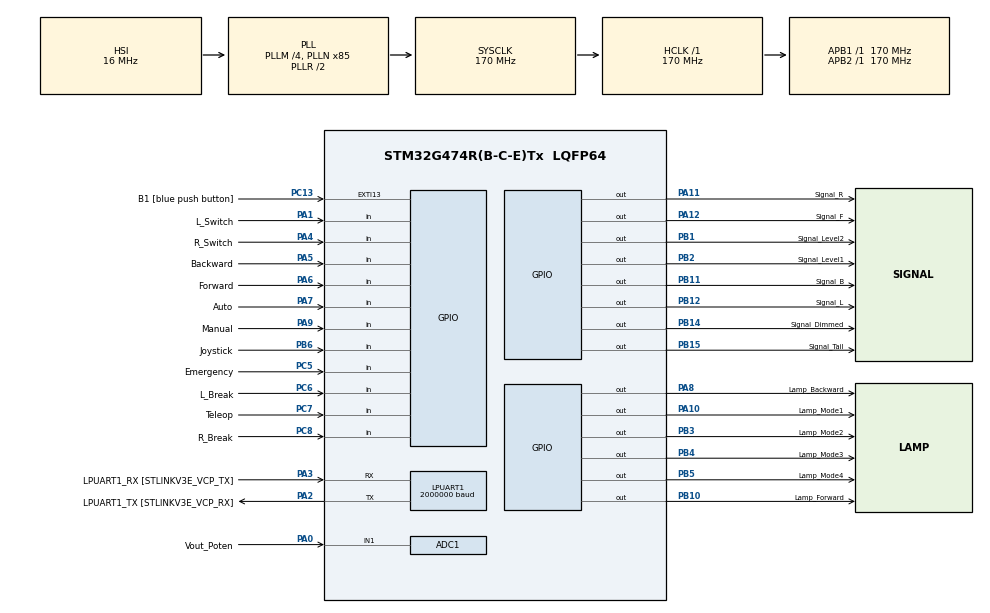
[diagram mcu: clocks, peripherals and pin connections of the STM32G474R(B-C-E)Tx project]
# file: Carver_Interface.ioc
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ADC1.Channel-0\#ChannelRegularConversion=ADC_CHANNEL_1
ADC1.ContinuousConvMode=DISABLE
ADC1.DMAContinuousRequests=ENABLE
ADC1.ExternalTrigConv=ADC_EXTERNALTRIG_T2_TRGO
ADC1.NbrOfConversion=1
ADC1.NbrOfConversionFlag=1
ADC1.OffsetNumber-0\#ChannelRegularConversion=ADC_OFFSET_NONE
ADC1.Rank-0\#ChannelRegularConversion=1
ADC1.SamplingTime-0\#ChannelRegularConversion=ADC_SAMPLETIME_640CYCLES_5
ADC1.master=1
Dma.ADC1.2.Direction=DMA_PERIPH_TO_MEMORY
Dma.ADC1.2.EventEnable=DISABLE
Dma.ADC1.2.Instance=DMA1_Channel3
Dma.ADC1.2.MemDataAlignment=DMA_MDATAALIGN_HALFWORD
Dma.ADC1.2.MemInc=DMA_MINC_ENABLE
Dma.ADC1.2.Mode=DMA_CIRCULAR
Dma.ADC1.2.PeriphDataAlignment=DMA_PDATAALIGN_HALFWORD
Dma.ADC1.2.PeriphInc=DMA_PINC_DISABLE
Dma.ADC1.2.Polarity=HAL_DMAMUX_REQ_GEN_RISING
Dma.ADC1.2.Priority=DMA_PRIORITY_LOW
Dma.ADC1.2.RequestNumber=1
Dma.ADC1.2.SignalID=NONE
Dma.ADC1.2.SyncEnable=DISABLE
Dma.ADC1.2.SyncPolarity=HAL_DMAMUX_SYNC_NO_EVENT
Dma.ADC1.2.SyncRequestNumber=1
Dma.ADC1.2.SyncSignalID=NONE
Dma.LPUART1_RX.1.Direction=DMA_PERIPH_TO_MEMORY
Dma.LPUART1_RX.1.EventEnable=DISABLE
Dma.LPUART1_RX.1.Instance=DMA1_Channel2
Dma.LPUART1_RX.1.MemDataAlignment=DMA_MDATAALIGN_BYTE
Dma.LPUART1_RX.1.MemInc=DMA_MINC_ENABLE
Dma.LPUART1_RX.1.Mode=DMA_CIRCULAR
Dma.LPUART1_RX.1.PeriphDataAlignment=DMA_PDATAALIGN_BYTE
Dma.LPUART1_RX.1.PeriphInc=DMA_PINC_DISABLE
Dma.LPUART1_RX.1.Polarity=HAL_DMAMUX_REQ_GEN_RISING
Dma.LPUART1_RX.1.Priority=DMA_PRIORITY_VERY_HIGH
Dma.LPUART1_RX.1.RequestNumber=1
Dma.LPUART1_RX.1.SignalID=NONE
Dma.LPUART1_RX.1.SyncEnable=DISABLE
Dma.LPUART1_RX.1.SyncPolarity=HAL_DMAMUX_SYNC_NO_EVENT
Dma.LPUART1_RX.1.SyncRequestNumber=1
Dma.LPUART1_RX.1.SyncSignalID=NONE
Dma.LPUART1_TX.0.Direction=DMA_MEMORY_TO_PERIPH
Dma.LPUART1_TX.0.EventEnable=DISABLE
Dma.LPUART1_TX.0.Instance=DMA1_Channel1
Dma.LPUART1_TX.0.MemDataAlignment=DMA_MDATAALIGN_BYTE
Dma.LPUART1_TX.0.MemInc=DMA_MINC_ENABLE
Dma.LPUART1_TX.0.Mode=DMA_NORMAL
Dma.LPUART1_TX.0.PeriphDataAlignment=DMA_PDATAALIGN_BYTE
Dma.LPUART1_TX.0.PeriphInc=DMA_PINC_DISABLE
Dma.LPUART1_TX.0.Polarity=HAL_DMAMUX_REQ_GEN_RISING
Dma.LPUART1_TX.0.Priority=DMA_PRIORITY_VERY_HIGH
Dma.LPUART1_TX.0.RequestNumber=1
Dma.LPUART1_TX.0.SignalID=NONE
Dma.LPUART1_TX.0.SyncEnable=DISABLE
Dma.LPUART1_TX.0.SyncPolarity=HAL_DMAMUX_SYNC_NO_EVENT
Dma.LPUART1_TX.0.SyncRequestNumber=1
Dma.LPUART1_TX.0.SyncSignalID=NONE
Dma.Request0=LPUART1_TX
Dma.Request1=LPUART1_RX
Dma.Request2=ADC1
FREERTOS.Tasks01=defaultTask,40,5000,StartDefaultTask,Default,NULL,Static,defaultTaskBuffer,defaultTaskControlBlock
IWDG.Reload=2499
LPUART1.BaudRate=2000000
Mcu.Family=STM32G4
Mcu.Name=STM32G474R(B-C-E)Tx
Mcu.Package=LQFP64
NVIC.ADC1_2_IRQn=true\:5\:0\:false\:false\:true\:true\:true\:true\:true
NVIC.DMA1_Channel1_IRQn=true\:5\:0\:false\:false\:true\:true\:false\:true\:true
NVIC.DMA1_Channel2_IRQn=true\:5\:0\:false\:false\:true\:true\:false\:true\:true
NVIC.DMA1_Channel3_IRQn=true\:5\:0\:false\:false\:true\:true\:false\:true\:true
NVIC.EXTI15_10_IRQn=true\:5\:0\:false\:false\:true\:true\:true\:true\:true
NVIC.LPUART1_IRQn=true\:5\:0\:false\:false\:true\:true\:true\:true\:true
NVIC.PriorityGroup=NVIC_PRIORITYGROUP_4
NVIC.TIM1_UP_TIM16_IRQn=true\:15\:0\:false\:false\:true\:false\:false\:true\:true
NVIC.TIM2_IRQn=true\:5\:0\:false\:false\:true\:true\:true\:true\:true
NVIC.TimeBase=TIM1_UP_TIM16_IRQn
NVIC.TimeBaseIP=TIM1
PA0.GPIO_Label=Vout_Poten
PA0.Mode=IN1-Single-Ended
PA0.Signal=ADC1_IN1
PA1.GPIO_Label=L_Switch
PA1.GPIO_PuPd=GPIO_PULLUP
PA1.Signal=GPIO_Input
PA10.GPIO_Label=Lamp_Mode1
PA10.GPIO_PuPd=GPIO_PULLDOWN
PA10.PinState=GPIO_PIN_SET
PA10.Signal=GPIO_Output
PA11.GPIO_Label=Signal_R
PA11.GPIO_ModeDefaultOutputPP=GPIO_MODE_OUTPUT_PP
PA11.GPIO_PuPd=GPIO_PULLDOWN
PA11.PinState=GPIO_PIN_SET
PA11.Signal=GPIO_Output
PA12.GPIO_Label=Signal_F
PA12.GPIO_PuPd=GPIO_PULLDOWN
PA12.PinState=GPIO_PIN_SET
PA12.Signal=GPIO_Output
PA13.GPIO_Label=T_SWDIO
PA13.Signal=SYS_JTMS-SWDIO
PA14.GPIO_Label=T_SWCLK
PA14.Signal=SYS_JTCK-SWCLK
PA2.GPIO_Label=LPUART1_TX [STLINKV3E_VCP_RX]
PA2.Mode=Asynchronous
PA2.Signal=LPUART1_TX
PA3.GPIO_Label=LPUART1_RX [STLINKV3E_VCP_TX]
PA3.Mode=Asynchronous
PA3.Signal=LPUART1_RX
PA4.GPIO_Label=R_Switch
PA4.GPIO_PuPd=GPIO_PULLUP
PA4.Signal=GPIO_Input
PA5.GPIO_Label=Backward
PA5.GPIO_PuPd=GPIO_PULLDOWN
PA5.Signal=GPIO_Input
PA6.GPIO_Label=Forward
PA6.GPIO_PuPd=GPIO_PULLDOWN
PA6.Signal=GPIO_Input
PA7.GPIO_Label=Auto
PA7.GPIO_PuPd=GPIO_PULLDOWN
PA7.Signal=GPIO_Input
PA8.GPIO_Label=Lamp_Backward
PA8.GPIO_PuPd=GPIO_PULLDOWN
PA8.Signal=GPIO_Output
PA9.GPIO_Label=Manual
PA9.GPIO_PuPd=GPIO_PULLDOWN
PA9.Signal=GPIO_Input
PB1.GPIO_Label=Signal_Level2
PB1.GPIO_ModeDefaultOutputPP=GPIO_MODE_OUTPUT_PP
PB1.GPIO_PuPd=GPIO_PULLDOWN
PB1.PinState=GPIO_PIN_SET
PB1.Signal=GPIO_Output
PB10.GPIO_Label=Lamp_Forward
PB10.GPIO_PuPd=GPIO_PULLDOWN
PB10.Signal=GPIO_Output
PB11.GPIO_Label=Signal_B
PB11.GPIO_PuPd=GPIO_PULLDOWN
PB11.PinState=GPIO_PIN_SET
PB11.Signal=GPIO_Output
PB12.GPIO_Label=Signal_L
PB12.GPIO_PuPd=GPIO_PULLDOWN
PB12.PinState=GPIO_PIN_SET
PB12.Signal=GPIO_Output
PB14.GPIO_Label=Signal_Dimmed
PB14.GPIO_PuPd=GPIO_PULLDOWN
PB14.PinState=GPIO_PIN_SET
PB14.Signal=GPIO_Output
PB15.GPIO_Label=Signal_Tail
PB15.GPIO_PuPd=GPIO_PULLDOWN
PB15.PinState=GPIO_PIN_SET
PB15.Signal=GPIO_Output
PB2.GPIO_Label=Signal_Level1
PB2.GPIO_PuPd=GPIO_PULLDOWN
PB2.PinState=GPIO_PIN_SET
PB2.Signal=GPIO_Output
PB3.GPIO_Label=Lamp_Mode2
PB3.GPIO_ModeDefaultOutputPP=GPIO_MODE_OUTPUT_PP
PB3.GPIO_PuPd=GPIO_PULLDOWN
PB3.PinState=GPIO_PIN_SET
PB3.Signal=GPIO_Output
PB4.GPIO_Label=Lamp_Mode3
PB4.GPIO_PuPd=GPIO_PULLDOWN
PB4.Signal=GPIO_Output
PB5.GPIO_Label=Lamp_Mode4
PB5.GPIO_PuPd=GPIO_PULLDOWN
PB5.PinState=GPIO_PIN_SET
PB5.Signal=GPIO_Output
PB6.GPIO_Label=Joystick
PB6.GPIO_PuPd=GPIO_PULLDOWN
PB6.Signal=GPIO_Input
PC13.GPIO_Label=B1 [blue push button]
PC13.Signal=GPXTI13
PC14-OSC32_IN.GPIO_Label=RCC_OSC32_IN
PC14-OSC32_IN.Mode=LSE-External-Oscillator
PC14-OSC32_IN.Signal=RCC_OSC32_IN
PC15-OSC32_OUT.Mode=LSE-External-Oscillator
PC15-OSC32_OUT.Signal=RCC_OSC32_OUT
PC5.GPIO_Label=Emergency
PC5.Signal=GPIO_Input
PC6.GPIO_Label=L_Break
PC6.GPIO_PuPd=GPIO_PULLUP
PC6.Signal=GPIO_Input
PC7.GPIO_Label=Teleop
PC7.GPIO_PuPd=GPIO_PULLDOWN
PC7.Signal=GPIO_Input
PC8.GPIO_Label=R_Break
PC8.GPIO_PuPd=GPIO_PULLUP
PC8.Signal=GPIO_Input
PF0-OSC_IN.Mode=HSE-External-Oscillator
PF0-OSC_IN.Signal=RCC_OSC_IN
PF1-OSC_OUT.GPIO_Label=RCC_OSC_OUT
PF1-OSC_OUT.Mode=HSE-External-Oscillator
PF1-OSC_OUT.Signal=RCC_OSC_OUT
ProjectManager.HeapSize=0x200
ProjectManager.StackSize=0x400
ProjectManager.TargetToolchain=STM32CubeIDE
RCC.ADC12Freq_Value=170000000
RCC.ADC345Freq_Value=170000000
RCC.AHBFreq_Value=170000000
RCC.APB1Freq_Value=170000000
RCC.APB1TimFreq_Value=170000000
RCC.APB2Freq_Value=170000000
RCC.APB2TimFreq_Value=170000000
RCC.CortexFreq_Value=170000000
RCC.EXTERNAL_CLOCK_VALUE=12288000
RCC.HCLKFreq_Value=170000000
RCC.HSE_VALUE=24000000
RCC.HSI48_VALUE=48000000
RCC.HSI_VALUE=16000000
RCC.PLLM=RCC_PLLM_DIV4
RCC.PLLN=85
RCC.RTCClockSelection=RCC_RTCCLKSOURCE_LSE
RCC.SYSCLKFreq_VALUE=170000000
RCC.SYSCLKSource=RCC_SYSCLKSOURCE_PLLCLK
RCC.USBFreq_Value=170000000
RCC.VCOOutputFreq_Value=340000000
TIM2.PeriodNoDither=999
TIM2.Prescaler=169
TIM2.TIM_MasterOutputTrigger=TIM_TRGO_UPDATE
VP_FREERTOS_VS_CMSIS_V2.Mode=CMSIS_V2
VP_IWDG_VS_IWDG.Mode=IWDG_Activate
VP_SYS_VS_DBSignals.Mode=DisableDeadBatterySignals
VP_SYS_VS_tim1.Mode=TIM1
VP_TIM2_VS_ClockSourceINT.Mode=Internal
board=NUCLEO-G474RE

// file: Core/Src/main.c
/* USER CODE BEGIN Header */
/**
  ******************************************************************************
  * @file           : main.c
  * @brief          : Main program body
  ******************************************************************************
  * @attention
  *
  * Copyright (c) 2024 STMicroelectronics.
  * All rights reserved.
  *
  * This software is licensed under terms that can be found in the LICENSE file
  * in the root directory of this software component.
  * If no LICENSE file comes with this software, it is provided AS-IS.
  *
  ******************************************************************************
  */
/* USER CODE END Header */
#include "main.h"
#include "cmsis_os.h"
#include "adc.h"
#include "dma.h"
#include "iwdg.h"
#include "usart.h"
#include "tim.h"
#include "gpio.h"

/* USER CODE BEGIN PV */
//uint8_t pinState = 0;
//uint8_t pinState1 = 0;
//uint8_t pinState2 = 0;
//uint8_t pinState3 = 0;
//uint8_t pinState4 = 0;
uint8_t test = 0;
/* USER CODE END PV */

void SystemClock_Config(void);
void MX_FREERTOS_Init(void);

int main(void)
{

  /* MCU Configuration--------------------------------------------------------*/

  /* Reset of all peripherals, Initializes the Flash interface and the Systick. */
  HAL_Init();

  /* Configure the system clock */
  SystemClock_Config();

  /* Initialize all configured peripherals */
  MX_GPIO_Init();
  MX_DMA_Init();
  MX_LPUART1_UART_Init();
  MX_ADC1_Init();
  MX_IWDG_Init();
  MX_TIM2_Init();
  /* USER CODE BEGIN 2 */

  HAL_TIM_Base_Start_IT(&htim2);
  /* USER CODE END 2 */

  /* Init scheduler */
  osKernelInitialize();

  /* Call init function for freertos objects (in cmsis_os2.c) */
  MX_FREERTOS_Init();

  /* Start scheduler */
  osKernelStart();

  /* We should never get here as control is now taken by the scheduler */

  /* Infinite loop */
  while (1)
  {

  }
}

void SystemClock_Config(void)
{
  RCC_OscInitTypeDef RCC_OscInitStruct = {0};
  RCC_ClkInitTypeDef RCC_ClkInitStruct = {0};

  /** Configure the main internal regulator output voltage
  */
  HAL_PWREx_ControlVoltageScaling(PWR_REGULATOR_VOLTAGE_SCALE1_BOOST);

  /** Initializes the RCC Oscillators according to the specified parameters
  * in the RCC_OscInitTypeDef structure.
  */
  RCC_OscInitStruct.OscillatorType = RCC_OSCILLATORTYPE_HSI|RCC_OSCILLATORTYPE_LSI;
  RCC_OscInitStruct.HSIState = RCC_HSI_ON;
  RCC_OscInitStruct.HSICalibrationValue = RCC_HSICALIBRATION_DEFAULT;
  RCC_OscInitStruct.LSIState = RCC_LSI_ON;
  RCC_OscInitStruct.PLL.PLLState = RCC_PLL_ON;
  RCC_OscInitStruct.PLL.PLLSource = RCC_PLLSOURCE_HSI;
  RCC_OscInitStruct.PLL.PLLM = RCC_PLLM_DIV4;
  RCC_OscInitStruct.PLL.PLLN = 85;
  RCC_OscInitStruct.PLL.PLLP = RCC_PLLP_DIV2;
  RCC_OscInitStruct.PLL.PLLQ = RCC_PLLQ_DIV2;
  RCC_OscInitStruct.PLL.PLLR = RCC_PLLR_DIV2;
  if (HAL_RCC_OscConfig(&RCC_OscInitStruct) != HAL_OK)
  {
    Error_Handler();
  }

  /** Initializes the CPU, AHB and APB buses clocks
  */
  RCC_ClkInitStruct.ClockType = RCC_CLOCKTYPE_HCLK|RCC_CLOCKTYPE_SYSCLK
                              |RCC_CLOCKTYPE_PCLK1|RCC_CLOCKTYPE_PCLK2;
  RCC_ClkInitStruct.SYSCLKSource = RCC_SYSCLKSOURCE_PLLCLK;
  RCC_ClkInitStruct.AHBCLKDivider = RCC_SYSCLK_DIV1;
  RCC_ClkInitStruct.APB1CLKDivider = RCC_HCLK_DIV1;
  RCC_ClkInitStruct.APB2CLKDivider = RCC_HCLK_DIV1;

  if (HAL_RCC_ClockConfig(&RCC_ClkInitStruct, FLASH_LATENCY_4) != HAL_OK)
  {
    Error_Handler();
  }
}

/* USER CODE BEGIN 4 */
void HAL_TIM_PeriodElapsedCallback(TIM_HandleTypeDef *htim){
	if(htim == &htim2){
		test +=1;
//		pinState  = HAL_GPIO_ReadPin(Mode1_GPIO_Port, Mode1_Pin);
//		pinState1 = HAL_GPIO_ReadPin(Mode2_GPIO_Port, Mode2_Pin);
//		pinState2 = HAL_GPIO_ReadPin(Mode3_GPIO_Port, Mode3_Pin);
//		pinState3 = HAL_GPIO_ReadPin(Mode4_GPIO_Port, Mode4_Pin);
	}
}
/* USER CODE END 4 */

void Error_Handler(void)
{
  __disable_irq();
  while (1)
  {
  }
}

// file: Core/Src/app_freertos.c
/* USER CODE BEGIN Header */
/**
  ******************************************************************************
  * File Name          : app_freertos.c
  * Description        : Code for freertos applications
  ******************************************************************************
  * @attention
  *
  * Copyright (c) 2024 STMicroelectronics.
  * All rights reserved.
  *
  * This software is licensed under terms that can be found in the LICENSE file
  * in the root directory of this software component.
  * If no LICENSE file comes with this software, it is provided AS-IS.
  *
  ******************************************************************************
  */
/* USER CODE END Header */

#include "FreeRTOS.h"
#include "task.h"
#include "main.h"
#include "cmsis_os.h"

/* USER CODE BEGIN Includes */

#include "adc.h"
#include "dma.h"
#include "iwdg.h"
#include "usart.h"
#include "gpio.h"

#include <rcl/rcl.h>
#include <rcl/error_handling.h>
#include <rclc/rclc.h>
#include <rclc/executor.h>
#include <uxr/client/transport.h>
#include <rmw_microxrcedds_c/config.h>
#include <rmw_microros/rmw_microros.h>

#include <micro_ros_utilities/string_utilities.h>
#include <std_msgs/msg/float32.h>
#include <std_msgs/msg/float32_multi_array.h>
#include <std_msgs/msg/float64_multi_array.h>

#include <std_msgs/msg/u_int16.h>
#include <std_msgs/msg/int8.h>
#include <std_msgs/msg/bool.h>

#include <geometry_msgs/msg/twist.h>
/* USER CODE END Includes */

typedef StaticTask_t osStaticThreadDef_t;
/* USER CODE BEGIN PTD */
typedef enum{
	MANUAL,
	TELEOP,
	AUTO,
	JOYSTICK,
	DEBOUNCE
}MODE;

typedef enum{
	FORWARD,
	BACKWARD,
}DIRECTION;
/* USER CODE END PTD */

/* USER CODE BEGIN PD */
#define BUFFER_SIZE 40
#define RCSOFTCHECK(fn) if (fn != RCL_RET_OK) {};
/* USER CODE END PD */

/* USER CODE BEGIN Variables */
rcl_node_t node;

rcl_publisher_t xrl8_publisher;
std_msgs__msg__UInt16 XRL8_msg;

rcl_publisher_t emer_publisher;
std_msgs__msg__Bool emer_msg;

rcl_publisher_t direction_publisher;
std_msgs__msg__Int8 dir_msg;

rcl_subscription_t mode_subscriber;
std_msgs__msg__Int8 mode_msg;

rcl_subscription_t twist_subscriber;
geometry_msgs__msg__Twist twist_msg;

uint8_t sync_counter = 0;

uint8_t mode_sub_msg = 9;
float linear_x = 0.0, angular_z = 0.0;

uint8_t Manual_mode = 0; // Manual
uint8_t Teleop_mode = 0; // Teleop
uint8_t Auto_mode = 0; // Auto
uint8_t Joystick_mode = 0; // Joystick
uint8_t forward = 0;
uint8_t backward = 0;
uint8_t l_switch = 0;
uint8_t r_switch = 0;
uint8_t l_break = 0;
uint8_t r_break = 0;

uint8_t cmd_mode1 = 0;
uint8_t cmd_mode2 = 0;
uint8_t cmd_mode3 = 0;
uint8_t cmd_mode4 = 0;
uint8_t cmd_mode1_tower = 0;
uint8_t cmd_mode2_tower = 0;
uint8_t cmd_mode3_tower = 0;
uint8_t cmd_mode4_tower = 0;

uint8_t cmd_forward = 0;
uint8_t cmd_backward = 0;
uint8_t cmd_front_light = 0;
uint8_t cmd_brake_light = 0;
uint8_t cmd_left_signal_light = 0;
uint8_t cmd_right_signal_light = 0;

MODE mode = MANUAL;
DIRECTION manual_direction = FORWARD;
float accelerator = 0.0;
GPIO_PinState emer = 0;

uint16_t adc_buffer[BUFFER_SIZE];
/* USER CODE END Variables */
/* Definitions for defaultTask */
osThreadId_t defaultTaskHandle;
uint32_t defaultTaskBuffer[ 5000 ];
osStaticThreadDef_t defaultTaskControlBlock;
const osThreadAttr_t defaultTask_attributes = {
  .name = "defaultTask",
  .stack_mem = &defaultTaskBuffer[0],
  .stack_size = sizeof(defaultTaskBuffer),
  .cb_mem = &defaultTaskControlBlock,
  .cb_size = sizeof(defaultTaskControlBlock),
  .priority = (osPriority_t) osPriorityHigh,
};

/* USER CODE BEGIN FunctionPrototypes */
bool cubemx_transport_open(struct uxrCustomTransport * transport);
bool cubemx_transport_close(struct uxrCustomTransport * transport);
size_t cubemx_transport_write(struct uxrCustomTransport* transport, const uint8_t * buf, size_t len, uint8_t * err);
size_t cubemx_transport_read(struct uxrCustomTransport* transport, uint8_t* buf, size_t len, int timeout, uint8_t* err);

void * microros_allocate(size_t size, void * state);
void microros_deallocate(void * pointer, void * state);
void * microros_reallocate(void * pointer, size_t size, void * state);
void * microros_zero_allocate(size_t number_of_elements, size_t size_of_element, void * state);

void mode_subscription_callback(const void * msgin);
void twist_subscription_callback(const void * msgin);

void timer_callback(rcl_timer_t * timer, int64_t last_call_time);
uint16_t calculate_average(uint16_t *buffer, uint16_t length);
void xlr8_publish(uint16_t xlr8);
void emergency_publish(GPIO_PinState emer_state);
void accel_direction_publish(int8_t dir);
void interfaces_status();
void mode_cycle();
void mode_light_indicator();

void left_turn(uint16_t _t);
void right_turn(uint16_t _t);
void harzard(uint16_t _t);
void tower_red(uint16_t _t);
void tower_yellow(uint16_t _t);
void tower_green(uint16_t _t);
/* USER CODE END FunctionPrototypes */

void StartDefaultTask(void *argument);

void MX_FREERTOS_Init(void); /* (MISRA C 2004 rule 8.1) */

void MX_FREERTOS_Init(void) {
  /* USER CODE BEGIN Init */
	HAL_ADC_Start_DMA(&hadc1, (uint32_t*)adc_buffer, BUFFER_SIZE);
  /* USER CODE END Init */

  /* Create the thread(s) */
  /* creation of defaultTask */
  defaultTaskHandle = osThreadNew(StartDefaultTask, NULL, &defaultTask_attributes);

}

void StartDefaultTask(void *argument)
{
  /* USER CODE BEGIN StartDefaultTask */

	// micro-ROS configuration
	rmw_uros_set_custom_transport(
	true,
	(void *) &hlpuart1,
	cubemx_transport_open,
	cubemx_transport_close,
	cubemx_transport_write,
	cubemx_transport_read);

	rcl_allocator_t freeRTOS_allocator = rcutils_get_zero_initialized_allocator();
	freeRTOS_allocator.allocate = microros_allocate;
	freeRTOS_allocator.deallocate = microros_deallocate;
	freeRTOS_allocator.reallocate = microros_reallocate;
	freeRTOS_allocator.zero_allocate =  microros_zero_allocate;

	if (!rcutils_set_default_allocator(&freeRTOS_allocator)) {
	  printf("Error on default allocators (line %d)\n", __LINE__);
	}

	// micro-ROS app
	rcl_timer_t XLR8_timer;
	rclc_support_t support;
	rclc_executor_t executor;
	rcl_allocator_t allocator;
	rcl_init_options_t init_options;

	const unsigned int timer_period = RCL_MS_TO_NS(8);
	const int timeout_ms = 1000;
	int executor_num = 3;

	const rosidl_message_type_support_t * uint16_type_support =
	  ROSIDL_GET_MSG_TYPE_SUPPORT(std_msgs, msg, UInt16);

	const rosidl_message_type_support_t * bool_type_support =
	  ROSIDL_GET_MSG_TYPE_SUPPORT(std_msgs, msg, Bool);

	const rosidl_message_type_support_t * int8_type_support =
	  ROSIDL_GET_MSG_TYPE_SUPPORT(std_msgs, msg, Int8);

	allocator = rcl_get_default_allocator();

	executor = rclc_executor_get_zero_initialized_executor();

	init_options = rcl_get_zero_initialized_init_options();

	RCSOFTCHECK(rcl_init_options_init(&init_options, allocator));
	RCSOFTCHECK(rcl_init_options_set_domain_id(&init_options, 198));

	// create support init_options
	rclc_support_init_with_options(&support, 0, NULL, &init_options, &allocator);

	// create timer
	rclc_timer_init_default(&XLR8_timer, &support, timer_period, timer_callback);

	// create node
	rclc_node_init_default(&node, "uros_carver_interface_node", "", &support);

	// create publisher
	rclc_publisher_init_best_effort(&xrl8_publisher, &node, uint16_type_support, "accl_publisher");
	rclc_publisher_init_best_effort(&emer_publisher, &node, bool_type_support, "carver_emergency");
	rclc_publisher_init_default(&direction_publisher, &node, int8_type_support, "accel_direction");

	// create subscriber
	rclc_subscription_init_default(&mode_subscriber, &node, ROSIDL_GET_MSG_TYPE_SUPPORT(std_msgs, msg, Int8),"interface_mode");
	rclc_subscription_init_default(&twist_subscriber, &node, ROSIDL_GET_MSG_TYPE_SUPPORT(geometry_msgs, msg, Twist),"twist_command");

	// create service server

	// create service client

	// create executor
	rclc_executor_init(&executor, &support.context, executor_num, &allocator);

	rclc_executor_add_timer(&executor, &XLR8_timer);
	rclc_executor_add_subscription(&executor, &mode_subscriber, &mode_msg, &mode_subscription_callback, ON_NEW_DATA);
	rclc_executor_add_subscription(&executor, &twist_subscriber, &twist_msg, &twist_subscription_callback, ON_NEW_DATA);

	rclc_executor_spin(&executor);
	rmw_uros_sync_session(timeout_ms);

//	for(;;)
//	{
//	//	osDelay(10);
//	}
  /* USER CODE END StartDefaultTask */
}

/* USER CODE BEGIN Application */
void mode_subscription_callback(const void * msgin){
	const std_msgs__msg__Int8 * mode_msg = (const std_msgs__msg__Int8 *)msgin;

	mode_sub_msg = mode_msg->data;
}

void twist_subscription_callback(const void * msgin){
	const geometry_msgs__msg__Twist * twist_msg = (const geometry_msgs__msg__Twist *)msgin;

	linear_x = twist_msg->linear.x;
	angular_z = twist_msg->angular.z;
}

void timer_callback(rcl_timer_t * timer, int64_t last_call_time)
{
	if (timer != NULL) {

		if (sync_counter++ >= 254) {  // Sync session at lower frequency
			rmw_uros_sync_session(1000);
			sync_counter = 0;
		}

		interfaces_status();
		emergency_publish(emer);

		mode_cycle();
		mode_light_indicator();

		if(mode == MANUAL){
			accelerator = calculate_average(adc_buffer, BUFFER_SIZE);
			xlr8_publish(accelerator);
			cmd_front_light = SET;
			if(manual_direction == FORWARD){
				cmd_forward = SET;
				cmd_backward = RESET;

				if(l_switch == RESET){
					left_turn(100);
				}

				if(r_switch == RESET){
					right_turn(100);
				}

				if(l_switch == SET && r_switch == SET){
					cmd_left_signal_light = RESET;
					cmd_right_signal_light = RESET;
				}

				accel_direction_publish(1);
			}

			else if(manual_direction == BACKWARD){
				cmd_forward = RESET;
				cmd_backward = SET;

				harzard(200);

				accel_direction_publish(-1);
			}

			if(l_break == RESET){
				cmd_brake_light = SET;
			}
			else{
				cmd_brake_light = RESET;
			}

		}
		else if(mode == TELEOP){
			cmd_front_light = SET;
			if(linear_x >=  0.0){
				cmd_forward = SET;
				cmd_backward = RESET;

				if(angular_z < -1.0){
					left_turn(100);
				}

				else if(angular_z >= 1.0){
					right_turn(100);
				}

				else {
					cmd_left_signal_light = RESET;
					cmd_right_signal_light = RESET;
				}
				accel_direction_publish(1);
			}

			else if(linear_x < 0.0){
				cmd_forward = RESET;
				cmd_backward = SET;

				harzard(200);

				accel_direction_publish(-1);
			}

			if(linear_x == 0.0 || l_break == RESET){
				cmd_brake_light = SET;
			}
			else{
				cmd_brake_light = RESET;
			}
		}
		else
		{
			cmd_front_light = RESET;
		}

		HAL_IWDG_Refresh(&hiwdg);
	}

}

void xlr8_publish(uint16_t xlr8)
{
	XRL8_msg.data = xlr8;
	rcl_ret_t ret = rcl_publish(&xrl8_publisher, &XRL8_msg, NULL);
	if (ret != RCL_RET_OK) printf("Error publishing (line %d)\n", __LINE__);
}

void emergency_publish(GPIO_PinState emer_state)
{
	emer_msg.data = !emer_state;
	rcl_ret_t ret = rcl_publish(&emer_publisher, &emer_msg, NULL);
	if (ret != RCL_RET_OK) printf("Error publishing (line %d)\n", __LINE__);
}

void accel_direction_publish(int8_t dir)
{
	dir_msg.data = dir;
	RCSOFTCHECK(rcl_publish(&direction_publisher, &dir_msg, NULL));
}

uint16_t calculate_average(uint16_t *buffer, uint16_t length) {
    uint32_t sum = 0;
    for (uint16_t i = 0; i < length; i++) {
        sum += buffer[i];
    }
    return (uint16_t)(sum / length);
}

void interfaces_status(){

	emer = HAL_GPIO_ReadPin(Emergency_GPIO_Port, Emergency_Pin);

	Manual_mode = HAL_GPIO_ReadPin(Manual_GPIO_Port, Manual_Pin);
	Teleop_mode = HAL_GPIO_ReadPin(Teleop_GPIO_Port, Teleop_Pin);
	Auto_mode = HAL_GPIO_ReadPin(Auto_GPIO_Port, Auto_Pin);
	Joystick_mode = HAL_GPIO_ReadPin(Joystick_GPIO_Port, Joystick_Pin);
	forward = HAL_GPIO_ReadPin(Forward_GPIO_Port, Forward_Pin);
	backward = HAL_GPIO_ReadPin(Backward_GPIO_Port, Backward_Pin);
	l_switch = HAL_GPIO_ReadPin(L_Switch_GPIO_Port, L_Switch_Pin);
	r_switch = HAL_GPIO_ReadPin(R_Switch_GPIO_Port, R_Switch_Pin);
	l_break = HAL_GPIO_ReadPin(L_Break_GPIO_Port, L_Break_Pin);
	r_break = HAL_GPIO_ReadPin(R_Break_GPIO_Port, R_Break_Pin);

	HAL_GPIO_WritePin(Lamp_Mode1_GPIO_Port, Lamp_Mode1_Pin, cmd_mode1);
	HAL_GPIO_WritePin(Lamp_Mode2_GPIO_Port, Lamp_Mode2_Pin, cmd_mode2);
	HAL_GPIO_WritePin(Lamp_Mode3_GPIO_Port, Lamp_Mode3_Pin, cmd_mode3);
	HAL_GPIO_WritePin(Lamp_Mode4_GPIO_Port, Lamp_Mode4_Pin, cmd_mode4);

	HAL_GPIO_WritePin(Signal_F_GPIO_Port, Signal_F_Pin, cmd_front_light);
	HAL_GPIO_WritePin(Signal_B_GPIO_Port, Signal_B_Pin, cmd_brake_light);
	HAL_GPIO_WritePin(Signal_L_GPIO_Port, Signal_L_Pin, cmd_left_signal_light);
	HAL_GPIO_WritePin(Signal_R_GPIO_Port, Signal_R_Pin, cmd_right_signal_light);
}

void mode_cycle() {
    if (mode_sub_msg == 0) {
        mode = MANUAL;
    } else if (mode_sub_msg == 1) {
        mode = TELEOP;
    } else if (mode_sub_msg == 2) {
        mode = AUTO;
    } else if (mode_sub_msg == 3) {
        mode = JOYSTICK;
    }

    else {
        if (Manual_mode == 1) {
            mode = MANUAL;
        } else if (Teleop_mode == 1) {
            mode = TELEOP;
        } else if (Auto_mode == 1) {
            mode = AUTO;
        } else if (Joystick_mode == 1) {
            mode = JOYSTICK;
        }
    }

    if (forward == 1) {
        manual_direction = FORWARD;
    } else if (backward == 1) {
        manual_direction = BACKWARD;
    }
}

void mode_light_indicator(){

	if(mode == MANUAL){
		cmd_mode1 = SET;
		cmd_mode2 = RESET;
		cmd_mode3 = RESET;
		cmd_mode4 = RESET;

		cmd_mode1_tower = SET;
		cmd_mode2_tower = RESET;
		cmd_mode3_tower = RESET;
		cmd_mode4_tower = RESET;

	}
	else if(mode == TELEOP){
		cmd_mode2 = SET;
		cmd_mode1 = RESET;
		cmd_mode3 = RESET;
		cmd_mode4 = RESET;

		tower_green(400);
		cmd_mode2_tower = RESET;
		cmd_mode3_tower = RESET;
		cmd_mode4_tower = RESET;
	}
	else if(mode == AUTO){
		cmd_mode3 = SET;
		cmd_mode1 = RESET;
		cmd_mode2 = RESET;
		cmd_mode4 = RESET;

		tower_red(200);
		cmd_mode1_tower = RESET;
		cmd_mode2_tower = RESET;
		cmd_mode4_tower = RESET;
	}
	else if(mode == JOYSTICK){
		cmd_mode4 = SET;
		cmd_mode1 = RESET;
		cmd_mode2 = RESET;
		cmd_mode3 = RESET;

		tower_yellow(400);
		cmd_mode1_tower = RESET;
		cmd_mode2_tower = RESET;
		cmd_mode3_tower = RESET;
	}

	if(mode != MANUAL && mode != TELEOP){
		cmd_forward = 0;
		cmd_backward = 0;
		manual_direction = FORWARD;
		accel_direction_publish(0);
	}

	HAL_GPIO_WritePin(Lamp_Mode1_GPIO_Port, Lamp_Mode1_Pin, cmd_mode1);
	HAL_GPIO_WritePin(Lamp_Mode2_GPIO_Port, Lamp_Mode2_Pin, cmd_mode2);
	HAL_GPIO_WritePin(Lamp_Mode3_GPIO_Port, Lamp_Mode3_Pin, cmd_mode3);
	HAL_GPIO_WritePin(Lamp_Mode4_GPIO_Port, Lamp_Mode4_Pin, cmd_mode4);

	HAL_GPIO_WritePin(Signal_Dimmed_GPIO_Port, Signal_Dimmed_Pin, cmd_mode1_tower); //Green
	HAL_GPIO_WritePin(Signal_Level1_GPIO_Port, Signal_Level1_Pin, cmd_mode4_tower); //Yellow
	HAL_GPIO_WritePin(Signal_Level2_GPIO_Port, Signal_Level2_Pin, cmd_mode3_tower); //Red

	HAL_GPIO_WritePin(Lamp_Forward_GPIO_Port, Lamp_Forward_Pin, cmd_forward);
	HAL_GPIO_WritePin(Lamp_Backward_GPIO_Port, Lamp_Backward_Pin, cmd_backward);

	HAL_GPIO_WritePin(Signal_F_GPIO_Port, Signal_F_Pin, cmd_front_light);
	HAL_GPIO_WritePin(Signal_B_GPIO_Port, Signal_B_Pin, cmd_brake_light);
	HAL_GPIO_WritePin(Signal_L_GPIO_Port, Signal_L_Pin, cmd_left_signal_light);
	HAL_GPIO_WritePin(Signal_R_GPIO_Port, Signal_R_Pin, cmd_right_signal_light);

}

void left_turn(uint16_t _t){
	if (uwTick % (_t*2) < _t) {
		cmd_left_signal_light = SET;
	} else {
		cmd_left_signal_light = RESET;
	}
}

void right_turn(uint16_t _t){
	if (uwTick % (_t*2) < _t) {
		cmd_right_signal_light = SET;
	} else {
		cmd_right_signal_light = RESET;
	}
}

void harzard(uint16_t _t){
	if (uwTick % (_t*2) < _t) {
	    cmd_left_signal_light = SET;
	    cmd_right_signal_light = SET;
	} else {
	    cmd_left_signal_light = RESET;
	    cmd_right_signal_light = RESET;
	}
}

void tower_red(uint16_t _t){
	if (uwTick % (_t*2) < _t) {
		cmd_mode3_tower = SET;
	} else {
		cmd_mode3_tower = RESET;
	}
}

void tower_yellow(uint16_t _t) {
    uint16_t period = _t * 2;
    if (uwTick % period < _t / 4) {
        cmd_mode4_tower = SET;  // Set pin for 25% of _t
    } else {
        cmd_mode4_tower = RESET;
    }
}

void tower_green(uint16_t _t) {
    uint16_t period = _t * 2;
    if (uwTick % period < _t / 4) {
        cmd_mode1_tower = SET;  // Set pin for 25% of _t
    } else {
        cmd_mode1_tower = RESET;
    }
}
/* USER CODE END Application */
